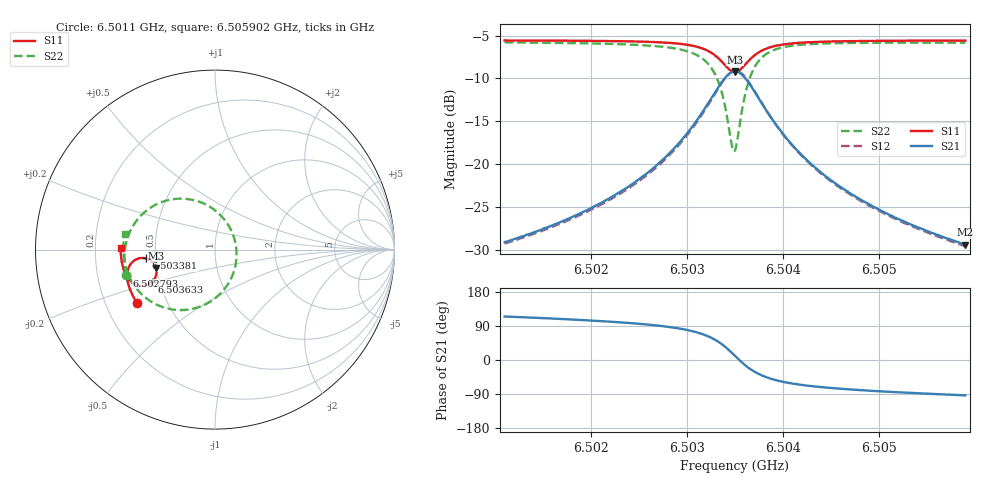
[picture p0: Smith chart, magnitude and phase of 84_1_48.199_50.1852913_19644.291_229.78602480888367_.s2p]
#  HZ  S  RI  R  50.00
! Rohde & Schwarz Vector Network Analyzer
! Rohde-Schwarz,ZNB20-2Port,1311601062101988,3.16
! Created: UTC 3/20/2024, 11:39:48 AM
! freq[Hz]  re:S11  im:S11  re:S21  im:S21  re:S12  im:S12  re:S22  im:S22
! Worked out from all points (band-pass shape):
!   401 points, 6.5011 GHz to 6.505902 GHz, reference 50 ohm
!   highest |S21| = -9.19 dB at 6.503501 GHz (marker M1); lowest = -29.4 dB at 6.505902 GHz (marker M2)
!   |S21| within 3 dB of the highest: 6.503261 GHz to 6.503741 GHz (480.3 kHz wide, 0.00739 % of centre)
!   lowest |S11| = -9.3 dB at 6.503501 GHz (marker M3), VSWR 2.05, Z = 24.8 - j5.74 ohm
!   |S11| at or under -10 dB: nowhere
!   |S22| runs from -18.5 to -5.8 dB; largest |S21 - S12| = 0.012
!   S11 on the Smith chart (normalised r, x): 6.5011 GHz: 0.34, -0.28; 6.502793 GHz: 0.33, -0.13; 6.503381 GHz: 0.44, -0.05; 6.503633 GHz: 0.45, -0.20; 6.505902 GHz: 0.31, +0.01
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6.5011005e9  -0.4331 -0.2995  -0.0147 0.0319  -0.013 0.0319  -0.494 -0.1394
6.5019048e9  -0.4667 -0.2386  -0.014 0.0504  -0.0114 0.0499  -0.5044 -0.0509
6.5023249e9  -0.481 -0.2005  -0.011 0.0692  -0.00797 0.0681  -0.5003 0.0108
6.5027091e9  -0.4895 -0.1567  -0.000892 0.1013  0.00288 0.099  -0.4777 0.0913
6.5027931e9  -0.4898 -0.145  0.0041 0.1122  0.00787 0.1092  -0.4669 0.1144
6.5029972e9  -0.4852 -0.111  0.0273 0.1476  0.0311 0.1429  -0.4183 0.1837
6.5031412e9  -0.4704 -0.0809  0.0659 0.1819  0.0687 0.1757  -0.3433 0.2432
6.5032853e9  -0.4313 -0.0513  0.1499 0.2106  0.1506 0.2043  -0.1899 0.2839
6.5033333e9  -0.4096 -0.0465  0.1937 0.209  0.1936 0.2032  -0.1134 0.2743
6.5033813e9  -0.3837 -0.0488  0.2437 0.193  0.2437 0.1883  -0.0276 0.2382
6.5034653e9  -0.34 -0.0792  0.3232 0.1159  0.3257 0.1116  0.0995 0.0858
6.5035014e9  -0.3291 -0.1021  0.341 0.0659  0.3446 0.0602  0.1199 -0.00852
6.5035254e9  -0.3261 -0.1187  0.3443 0.0303  0.3483 0.0234  0.1167 -0.0737
6.5035614e9  -0.3283 -0.1434  0.3362 -0.021  0.3398 -0.0301  0.0878 -0.1648
6.5036334e9  -0.3513 -0.1813  0.2879 -0.0989  0.2878 -0.1105  -0.0263 -0.29
6.5037294e9  -0.3931 -0.2013  0.2077 -0.1425  0.2027 -0.1529  -0.1898 -0.3369
6.5038855e9  -0.4431 -0.1941  0.1178 -0.1414  0.1104 -0.1471  -0.3534 -0.2913
6.5040536e9  -0.4728 -0.1728  0.0687 -0.12  0.0622 -0.1225  -0.4328 -0.2226
6.5043056e9  -0.4954 -0.1414  0.0354 -0.0925  0.0303 -0.093  -0.4813 -0.1434
6.5046538e9  -0.5108 -0.104  0.016 -0.0686  0.0125 -0.0683  -0.5039 -0.0692
6.5051099e9  -0.5207 -0.061  0.00539 -0.0504  0.003 -0.0499  -0.5109 -0.00124
6.5059022e9  -0.526 0.0068  -0.0019 -0.034  -0.00337 -0.0331  -0.5036 0.0856
